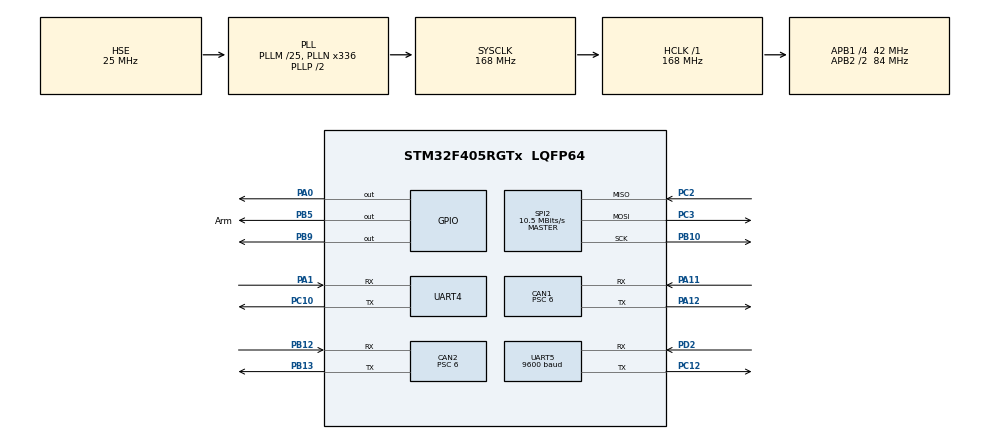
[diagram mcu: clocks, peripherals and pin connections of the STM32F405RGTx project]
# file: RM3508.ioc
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CAN1.ABOM=ENABLE
CAN1.AWUM=ENABLE
CAN1.BS1=CAN_BS1_3TQ
CAN1.BS2=CAN_BS2_3TQ
CAN1.CalculateBaudRate=1000000
CAN1.CalculateTimeBit=1000
CAN1.CalculateTimeQuantum=142.85714285714286
CAN1.NART=ENABLE
CAN1.Prescaler=6
CAN2.ABOM=ENABLE
CAN2.AWUM=ENABLE
CAN2.BS1=CAN_BS1_3TQ
CAN2.BS2=CAN_BS2_3TQ
CAN2.CalculateBaudRate=1000000
CAN2.CalculateTimeBit=1000
CAN2.CalculateTimeQuantum=142.85714285714286
CAN2.NART=ENABLE
CAN2.Prescaler=6
Dma.Request0=UART5_RX
Dma.UART5_RX.0.Direction=DMA_PERIPH_TO_MEMORY
Dma.UART5_RX.0.FIFOMode=DMA_FIFOMODE_DISABLE
Dma.UART5_RX.0.Instance=DMA1_Stream0
Dma.UART5_RX.0.MemDataAlignment=DMA_MDATAALIGN_BYTE
Dma.UART5_RX.0.MemInc=DMA_MINC_ENABLE
Dma.UART5_RX.0.Mode=DMA_CIRCULAR
Dma.UART5_RX.0.PeriphDataAlignment=DMA_PDATAALIGN_BYTE
Dma.UART5_RX.0.PeriphInc=DMA_PINC_DISABLE
Dma.UART5_RX.0.Priority=DMA_PRIORITY_HIGH
FREERTOS.Tasks01=defaultTask,0,128,StartDefaultTask,Default,NULL,Dynamic,NULL,NULL;myTask02,2,128,StartTask02,Default,NULL,Dynamic,NULL,NULL;myReadyPos,0,128,StartReadyPos,Default,NULL,Dynamic,NULL,NULL;myPutBall1,0,128,StartPutBall1,Default,NULL,Dynamic,NULL,NULL;myPutBall2,0,128,StartPutBall2,Default,NULL,Dynamic,NULL,NULL;myGetBall1,0,128,StartGetBall1,Default,NULL,Dynamic,NULL,NULL;myGetBall2,0,128,StartGetBall2,Default,NULL,Dynamic,NULL,NULL;myJudge,1,128,StartJudge,Default,NULL,Dynamic,NULL,NULL;mySetM567,1,128,StartSetM567,Default,NULL,Dynamic,NULL,NULL
Mcu.Family=STM32F4
Mcu.Name=STM32F405RGTx
Mcu.Package=LQFP64
NVIC.CAN1_RX0_IRQn=true\:6\:0\:true\:false\:true\:true\:true\:true\:true
NVIC.CAN1_SCE_IRQn=true\:6\:0\:true\:false\:true\:true\:true\:true\:true
NVIC.CAN2_RX1_IRQn=true\:6\:0\:true\:false\:true\:true\:true\:true\:true
NVIC.CAN2_SCE_IRQn=true\:6\:0\:true\:false\:true\:true\:true\:true\:true
NVIC.DMA1_Stream0_IRQn=true\:5\:0\:false\:false\:true\:true\:false\:true\:true
NVIC.PriorityGroup=NVIC_PRIORITYGROUP_4
NVIC.SPI2_IRQn=true\:5\:0\:false\:false\:true\:true\:true\:true\:true
NVIC.TIM3_IRQn=true\:15\:0\:false\:false\:true\:false\:false\:true\:true
NVIC.TIM5_IRQn=true\:8\:0\:true\:false\:true\:true\:true\:true\:true
NVIC.TIM6_DAC_IRQn=true\:7\:0\:true\:false\:true\:true\:true\:true\:true
NVIC.TIM8_TRG_COM_TIM14_IRQn=true\:5\:0\:false\:false\:true\:true\:true\:true\:true
NVIC.TIM8_UP_TIM13_IRQn=true\:5\:0\:false\:false\:true\:true\:true\:true\:true
NVIC.TimeBase=TIM3_IRQn
NVIC.TimeBaseIP=TIM3
NVIC.UART4_IRQn=true\:5\:0\:false\:false\:true\:true\:true\:true\:true
NVIC.UART5_IRQn=true\:5\:0\:false\:false\:true\:true\:true\:true\:true
PA0-WKUP.Signal=GPIO_Output
PA1.Mode=Asynchronous
PA1.Signal=UART4_RX
PA11.Mode=CAN_Activate
PA11.Signal=CAN1_RX
PA12.Mode=CAN_Activate
PA12.Signal=CAN1_TX
PA13.Mode=Serial_Wire
PA13.Signal=SYS_JTMS-SWDIO
PA14.Mode=Serial_Wire
PA14.Signal=SYS_JTCK-SWCLK
PB10.Mode=Full_Duplex_Master
PB10.Signal=SPI2_SCK
PB12.Mode=CAN_Activate
PB12.Signal=CAN2_RX
PB13.Mode=CAN_Activate
PB13.Signal=CAN2_TX
PB5.GPIO_Label=Arm
PB5.GPIO_PuPd=GPIO_PULLDOWN
PB5.Signal=GPIO_Output
PB9.GPIO_PuPd=GPIO_PULLUP
PB9.GPIO_Speed=GPIO_SPEED_FREQ_VERY_HIGH
PB9.Signal=GPIO_Output
PC10.Mode=Asynchronous
PC10.Signal=UART4_TX
PC12.Mode=Asynchronous
PC12.Signal=UART5_TX
PC14-OSC32_IN.Mode=LSE-External-Oscillator
PC14-OSC32_IN.Signal=RCC_OSC32_IN
PC15-OSC32_OUT.Mode=LSE-External-Oscillator
PC15-OSC32_OUT.Signal=RCC_OSC32_OUT
PC2.Mode=Full_Duplex_Master
PC2.Signal=SPI2_MISO
PC3.Mode=Full_Duplex_Master
PC3.Signal=SPI2_MOSI
PD2.Mode=Asynchronous
PD2.Signal=UART5_RX
PH0-OSC_IN.Mode=HSE-External-Oscillator
PH0-OSC_IN.Signal=RCC_OSC_IN
PH1-OSC_OUT.Mode=HSE-External-Oscillator
PH1-OSC_OUT.Signal=RCC_OSC_OUT
ProjectManager.HeapSize=0x200
ProjectManager.StackSize=0x400
ProjectManager.TargetToolchain=MDK-ARM V5.32
RCC.48MHZClocksFreq_Value=84000000
RCC.AHBFreq_Value=168000000
RCC.APB1CLKDivider=RCC_HCLK_DIV4
RCC.APB1Freq_Value=42000000
RCC.APB1TimFreq_Value=84000000
RCC.APB2CLKDivider=RCC_HCLK_DIV2
RCC.APB2Freq_Value=84000000
RCC.APB2TimFreq_Value=168000000
RCC.CortexFreq_Value=168000000
RCC.HCLKFreq_Value=168000000
RCC.HSE_VALUE=25000000
RCC.HSI_VALUE=16000000
RCC.PLLM=25
RCC.PLLN=336
RCC.PLLSourceVirtual=RCC_PLLSOURCE_HSE
RCC.SYSCLKFreq_VALUE=168000000
RCC.SYSCLKSource=RCC_SYSCLKSOURCE_PLLCLK
RCC.VCOOutputFreq_Value=336000000
SPI2.BaudRatePrescaler=SPI_BAUDRATEPRESCALER_4
SPI2.CLKPolarity=SPI_POLARITY_LOW
SPI2.CRCCalculation=SPI_CRCCALCULATION_DISABLE
SPI2.CalculateBaudRate=10.5 MBits/s
SPI2.Direction=SPI_DIRECTION_2LINES
SPI2.Mode=SPI_MODE_MASTER
SPI2.VirtualType=VM_MASTER
STMicroelectronics.X-CUBE-ALGOBUILD.1.3.0.LibraryCcDSPOoLibraryJjDSPOoLibrary=true
TIM14.Period=300
TIM14.Prescaler=42-1
TIM5.AutoReloadPreload=TIM_AUTORELOAD_PRELOAD_ENABLE
TIM5.Period=840-1
TIM5.Prescaler=100-1
TIM6.AutoReloadPreload=TIM_AUTORELOAD_PRELOAD_ENABLE
TIM6.Period=84-1
TIM6.Prescaler=10-1
UART4.VirtualMode=Asynchronous
UART5.BaudRate=9600
UART5.VirtualMode=Asynchronous
VP_FREERTOS_VS_CMSIS_V1.Mode=CMSIS_V1
VP_STMicroelectronics.X-CUBE-ALGOBUILD_VS_DSPOoLibraryJjLibrary_1.3.0_1.3.0.Mode=DSPOoLibraryJjLibrary
VP_SYS_VS_tim3.Mode=TIM3
VP_TIM13_VS_ClockSourceINT.Mode=Enable_Timer
VP_TIM14_VS_ClockSourceINT.Mode=Enable_Timer
VP_TIM5_VS_ClockSourceINT.Mode=Internal
VP_TIM6_VS_ClockSourceINT.Mode=Enable_Timer
board=custom

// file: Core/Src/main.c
/* USER CODE BEGIN Header */
/**
  ******************************************************************************
  * @file           : main.c
  * @brief          : Main program body
  ******************************************************************************
  * @attention
  *
  * Copyright (c) 2024 STMicroelectronics.
  * All rights reserved.
  *
  * This software is licensed under terms that can be found in the LICENSE file
  * in the root directory of this software component.
  * If no LICENSE file comes with this software, it is provided AS-IS.
  *
  ******************************************************************************
  */
/* USER CODE END Header */
#include "main.h"
#include "cmsis_os.h"
#include "can.h"
#include "dma.h"
#include "spi.h"
#include "tim.h"
#include "usart.h"
#include "gpio.h"

/* USER CODE BEGIN Includes */
#include "RM3508.h"
#include "can_bsp.h"
#include "DR_rm3508.h"
//#include "rgb.h"
#include "ICM42688.h"
#include "mySerial.h"

#include "math.h"
#include "stdio.h"
#include "string.h"
#include "stdarg.h"
#include "arm_math.h"
/* USER CODE END Includes */

void SystemClock_Config(void);
void MX_FREERTOS_Init(void);

int main(void)
{

  /* MCU Configuration--------------------------------------------------------*/

  /* Reset of all peripherals, Initializes the Flash interface and the Systick. */
  HAL_Init();

  /* Configure the system clock */
  SystemClock_Config();

  /* Initialize all configured peripherals */
  MX_GPIO_Init();
  MX_DMA_Init();
  MX_CAN1_Init();
  MX_CAN2_Init();
  MX_TIM5_Init();
  MX_UART5_Init();
  MX_TIM6_Init();
  MX_SPI2_Init();
  MX_TIM13_Init();
  MX_TIM14_Init();
  MX_UART4_Init();
  /* USER CODE BEGIN 2 */
	CAN_Init(&hcan1);
  CAN_Init(&hcan2);
	mySerial_Init();

//	HAL_TIM_Base_Start_IT (&htim6 );
//   ICM42688_Init();
//   Data_Init(K_filt1,G_yaw);
//	 HAL_TIM_Base_Start_IT (&htim5 );
//	 mySerial_Init();

  /* USER CODE END 2 */

  /* Call init function for freertos objects (in freertos.c) */
  MX_FREERTOS_Init();

  /* Start scheduler */
  osKernelStart();

  /* We should never get here as control is now taken by the scheduler */
  /* Infinite loop */
  while (1)
  {

    /* USER CODE BEGIN 3 */
//		RGB_Color_Convert(&htim4 ,TIM_CHANNEL_3 ,Yellow_Color, 0.5);
//		HAL_Delay (1);
		//控制CAN1发送消息给CAN2请用
//	  CAN_SendData(&hcan1, (uint8_t *)("Helloooo"), 0x123);
//	  HAL_Delay(5);

  }
  /* USER CODE END 3 */
}

void SystemClock_Config(void)
{
  RCC_OscInitTypeDef RCC_OscInitStruct = {0};
  RCC_ClkInitTypeDef RCC_ClkInitStruct = {0};

  /** Configure the main internal regulator output voltage
  */
  __HAL_RCC_PWR_CLK_ENABLE();
  __HAL_PWR_VOLTAGESCALING_CONFIG(PWR_REGULATOR_VOLTAGE_SCALE1);

  /** Initializes the RCC Oscillators according to the specified parameters
  * in the RCC_OscInitTypeDef structure.
  */
  RCC_OscInitStruct.OscillatorType = RCC_OSCILLATORTYPE_HSE;
  RCC_OscInitStruct.HSEState = RCC_HSE_ON;
  RCC_OscInitStruct.PLL.PLLState = RCC_PLL_ON;
  RCC_OscInitStruct.PLL.PLLSource = RCC_PLLSOURCE_HSE;
  RCC_OscInitStruct.PLL.PLLM = 25;
  RCC_OscInitStruct.PLL.PLLN = 336;
  RCC_OscInitStruct.PLL.PLLP = RCC_PLLP_DIV2;
  RCC_OscInitStruct.PLL.PLLQ = 4;
  if (HAL_RCC_OscConfig(&RCC_OscInitStruct) != HAL_OK)
  {
    Error_Handler();
  }

  /** Initializes the CPU, AHB and APB buses clocks
  */
  RCC_ClkInitStruct.ClockType = RCC_CLOCKTYPE_HCLK|RCC_CLOCKTYPE_SYSCLK
                              |RCC_CLOCKTYPE_PCLK1|RCC_CLOCKTYPE_PCLK2;
  RCC_ClkInitStruct.SYSCLKSource = RCC_SYSCLKSOURCE_PLLCLK;
  RCC_ClkInitStruct.AHBCLKDivider = RCC_SYSCLK_DIV1;
  RCC_ClkInitStruct.APB1CLKDivider = RCC_HCLK_DIV4;
  RCC_ClkInitStruct.APB2CLKDivider = RCC_HCLK_DIV2;

  if (HAL_RCC_ClockConfig(&RCC_ClkInitStruct, FLASH_LATENCY_5) != HAL_OK)
  {
    Error_Handler();
  }
}

void HAL_TIM_PeriodElapsedCallback(TIM_HandleTypeDef *htim)
{
  if (htim->Instance == TIM3) {
    HAL_IncTick();
  }
  /* USER CODE BEGIN Callback 1 */
	if( htim->Instance == htim5.Instance ){
      getICM42688data(K_filt,G_yaw);
      ICM42688_yaw_adjust(K_filt,G_yaw);
	}

	if( htim->Instance == htim6.Instance ){
//		printf("speed_1,pos_1:%f,%f\n",speed_1,Pos_1);
	}
  /* USER CODE END Callback 1 */
}

void Error_Handler(void)
{
  __disable_irq();
  while (1)
  {
  }
}

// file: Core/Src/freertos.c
/* USER CODE BEGIN Header */
/**
  ******************************************************************************
  * File Name          : freertos.c
  * Description        : Code for freertos applications
  ******************************************************************************
  * @attention
  *
  * Copyright (c) 2024 STMicroelectronics.
  * All rights reserved.
  *
  * This software is licensed under terms that can be found in the LICENSE file
  * in the root directory of this software component.
  * If no LICENSE file comes with this software, it is provided AS-IS.
  *
  ******************************************************************************
  */
/* USER CODE END Header */

#include "FreeRTOS.h"
#include "task.h"
#include "main.h"
#include "cmsis_os.h"

/* USER CODE BEGIN Includes */
#include "RM3508.h"
#include "can_bsp.h"
#include "DR_rm3508.h"
//#include "rgb.h"
#include "ICM42688.h"
#include "filt.h"
#include "point_control.h"
#include "arm_control.h"
#include "gpio.h"

#include "math.h"
#include "stdio.h"
#include "string.h"
#include "stdarg.h"

/* USER CODE END Includes */

/* USER CODE BEGIN Variables */
float x;
/* USER CODE END Variables */
osThreadId defaultTaskHandle;
osThreadId myTask02Handle;
osThreadId myReadyPosHandle;
osThreadId myPutBall1Handle;
osThreadId myPutBall2Handle;
osThreadId myGetBall1Handle;
osThreadId myGetBall2Handle;
osThreadId myJudgeHandle;
osThreadId mySetM567Handle;

void StartDefaultTask(void const * argument);
void StartTask02(void const * argument);
void StartReadyPos(void const * argument);
void StartPutBall1(void const * argument);
void StartPutBall2(void const * argument);
void StartGetBall1(void const * argument);
void StartGetBall2(void const * argument);
void StartJudge(void const * argument);
void StartSetM567(void const * argument);

void MX_FREERTOS_Init(void); /* (MISRA C 2004 rule 8.1) */

/* GetIdleTaskMemory prototype (linked to static allocation support) */
void vApplicationGetIdleTaskMemory( StaticTask_t **ppxIdleTaskTCBBuffer, StackType_t **ppxIdleTaskStackBuffer, uint32_t *pulIdleTaskStackSize );

/* USER CODE BEGIN GET_IDLE_TASK_MEMORY */
static StaticTask_t xIdleTaskTCBBuffer;
static StackType_t xIdleStack[configMINIMAL_STACK_SIZE];

void vApplicationGetIdleTaskMemory( StaticTask_t **ppxIdleTaskTCBBuffer, StackType_t **ppxIdleTaskStackBuffer, uint32_t *pulIdleTaskStackSize )
{
  *ppxIdleTaskTCBBuffer = &xIdleTaskTCBBuffer;
  *ppxIdleTaskStackBuffer = &xIdleStack[0];
  *pulIdleTaskStackSize = configMINIMAL_STACK_SIZE;
  /* place for user code */
}
/* USER CODE END GET_IDLE_TASK_MEMORY */

void MX_FREERTOS_Init(void) {

  /* Create the thread(s) */
  /* definition and creation of defaultTask */
  osThreadDef(defaultTask, StartDefaultTask, osPriorityNormal, 0, 128);
  defaultTaskHandle = osThreadCreate(osThread(defaultTask), NULL);

  /* definition and creation of myTask02 */
  osThreadDef(myTask02, StartTask02, osPriorityHigh, 0, 128);
  myTask02Handle = osThreadCreate(osThread(myTask02), NULL);

  /* definition and creation of myReadyPos */
  osThreadDef(myReadyPos, StartReadyPos, osPriorityNormal, 0, 128);
  myReadyPosHandle = osThreadCreate(osThread(myReadyPos), NULL);

  /* definition and creation of myPutBall1 */
  osThreadDef(myPutBall1, StartPutBall1, osPriorityNormal, 0, 128);
  myPutBall1Handle = osThreadCreate(osThread(myPutBall1), NULL);

  /* definition and creation of myPutBall2 */
  osThreadDef(myPutBall2, StartPutBall2, osPriorityNormal, 0, 128);
  myPutBall2Handle = osThreadCreate(osThread(myPutBall2), NULL);

  /* definition and creation of myGetBall1 */
  osThreadDef(myGetBall1, StartGetBall1, osPriorityNormal, 0, 128);
  myGetBall1Handle = osThreadCreate(osThread(myGetBall1), NULL);

  /* definition and creation of myGetBall2 */
  osThreadDef(myGetBall2, StartGetBall2, osPriorityNormal, 0, 128);
  myGetBall2Handle = osThreadCreate(osThread(myGetBall2), NULL);

  /* definition and creation of myJudge */
  osThreadDef(myJudge, StartJudge, osPriorityAboveNormal, 0, 128);
  myJudgeHandle = osThreadCreate(osThread(myJudge), NULL);

  /* definition and creation of mySetM567 */
  osThreadDef(mySetM567, StartSetM567, osPriorityAboveNormal, 0, 128);
  mySetM567Handle = osThreadCreate(osThread(mySetM567), NULL);

}

void StartDefaultTask(void const * argument)
{
  for(;;)
  {
    osDelay(1);
  }
}

void StartTask02(void const * argument)
{
  /* USER CODE BEGIN StartTask02 */
  /* Infinite loop */
  for(;;)
  {

//		if(Point_test == 1)
//		{
//			while(Robot_Pos_Move_PID_V1 (&Path_PID_Test))
//			{
//				Point_test = 0;
//				break;
//			}
//			osDelay(1);
//		}

//      RM3508_text();
//		Data_Init(K_filt1,G_yaw);
//    getICM42688data(K_filt,G_yaw);
//		ICM42688_yaw_adjust(K_filt,G_yaw);
//		ICM42688_VX_adjust(K_filt,G_yaw);
//		ICM42688_X_adjust(K_filt,G_yaw);
    osDelay(1);
  }
  /* USER CODE END StartTask02 */
}

void StartReadyPos(void const * argument)
{
  /* USER CODE BEGIN StartReadyPos */

  /* Infinite loop */
   for(;;)
  {
		//机械臂预备位置
			 M5_Pos = M5_READY * 1638.4; //抓取方向电机
       M6_Pos = M6_READY * 1297; //大臂电机抓取位置
       M7_Pos = M7_READY * 1638.4; //小臂电机
       osDelay(1);
  }
  /* USER CODE END StartReadyPos */
}

void StartPutBall1(void const * argument)
{
  /* USER CODE BEGIN StartPutBall1 */
  /* Infinite loop */
   for(;;)
  {
		vTaskSuspend(myPutBall1Handle); //暂停任务，等待唤醒
		//机械臂放球
		M5_Pos = -90 * 1638.4; //抓取方向电机
    M6_Pos = M6_PUT_1 * 1297; //大臂电机抓取位置
    M7_Pos = M7_PUT_1 * 1638.4; //小臂电机
		osDelay(5);
		while(1)
		{
				if(fabs(M3508_Pos_Pid[4].Err) <= 10 && fabs(M3508_Pos_Pid[5].Err) <= 10 && fabs(M3508_Pos_Pid[6].Err) <= 10) //到达位置跳出
					break;
				osDelay(1);
		 }
		osDelay(300);
		HAL_GPIO_WritePin (Arm_GPIO_Port ,Arm_Pin ,0);//电磁阀打开放球
		osDelay(700);
		vTaskResume(myReadyPosHandle);//预备位置
		PUT_BALL_1 = 0;
    osDelay(1);
  }
  /* USER CODE END StartPutBall1 */
}

void StartPutBall2(void const * argument)
{
  /* USER CODE BEGIN StartPutBall2 */
  /* Infinite loop */
  for(;;)
  {
    vTaskSuspend(myPutBall2Handle); //暂停任务，等待唤醒
		//机械臂放球
		M5_Pos = M5_PUT_2 * 1638.4; //抓取方向电机
    M6_Pos = M6_PUT_2 * 1297; //大臂电机抓取位置
    M7_Pos = M7_PUT_2 * 1638.4; //小臂电机
		while(1)
		{
				if(fabs(M3508_Pos_Pid[4].Err) <= 10 && fabs(M3508_Pos_Pid[5].Err) <= 10 && fabs(M3508_Pos_Pid[6].Err) <= 10) //到达位置跳出
					break;
				osDelay(1);
		}
		osDelay(300);
		HAL_GPIO_WritePin (Arm_GPIO_Port ,Arm_Pin ,0);//电磁阀打开放球
		osDelay(700);
		vTaskResume(myReadyPosHandle);//预备位置
		PUT_BALL_2 = 0;
    osDelay(1);
	}
  /* USER CODE END StartPutBall2 */
}

void StartGetBall1(void const * argument)
{
  /* USER CODE BEGIN StartGetBall1 */
  /* Infinite loop */
 for(;;)
  {
    vTaskSuspend(myGetBall1Handle); //暂停任务，等待唤醒
		//机械臂放球
		M5_Pos = -90 * 1638.4; //抓取方向电机
    M6_Pos = M6_GET_1 * 1297; //大臂电机抓取位置
    M7_Pos = M7_GET_1 * 1638.4; //小臂电机
		osDelay(5);
		while(1)
		{
				if(fabs(M3508_Pos_Pid[4].Err) <= 10 && fabs(M3508_Pos_Pid[5].Err) <= 10 && fabs(M3508_Pos_Pid[6].Err) <= 10) //到达位置跳出
					break;
				osDelay(1);
		 }
		osDelay(300);
		HAL_GPIO_WritePin (Arm_GPIO_Port ,Arm_Pin ,1);//电磁阀打开放球
		osDelay(700);
		vTaskResume(myReadyPosHandle);//预备位置
		GET_BALL_1 = 0;
    osDelay(1);
	}
  /* USER CODE END StartGetBall1 */
}

void StartGetBall2(void const * argument)
{
  /* USER CODE BEGIN StartGetBall2 */
  /* Infinite loop */
  for(;;)
  {
    vTaskSuspend(myGetBall2Handle); //暂停任务，等待唤醒
		//机械臂放球
			//第一个球
			if(BOX == 5)
			{
			M5_Pos = M5_GET1_2 * 1638.4; //抓取方向电机
			M6_Pos = M6_GET1_2 * 1297; //大臂电机抓取位置
			M7_Pos = M7_GET1_2 * 1638.4; //小臂电机
			while(1)
			{
					if(fabs(M3508_Pos_Pid[4].Err) <= 10 && fabs(M3508_Pos_Pid[5].Err) <= 10 && fabs(M3508_Pos_Pid[6].Err) <= 10) //到达位置跳出
						break;
					osDelay(1);
		  }
			osDelay(300);
			HAL_GPIO_WritePin (Arm_GPIO_Port ,Arm_Pin ,1);//电磁阀关闭抓球
			osDelay(700);
		  }

			//第二个球
			if(BOX == 4)
			{
			M5_Pos = M5_GET1_2 * 1638.4; //抓取方向电机
			M6_Pos = M6_GET1_2 * 1297; //大臂电机抓取位置
			M7_Pos = M7_GET1_2 * 1638.4; //小臂电机
			while(1)
			{
					if(fabs(M3508_Pos_Pid[4].Err) <= 10 && fabs(M3508_Pos_Pid[5].Err) <= 10 && fabs(M3508_Pos_Pid[6].Err) <= 10) //到达位置跳出
						break;
					osDelay(1);
		  }
			osDelay(300);
			HAL_GPIO_WritePin (Arm_GPIO_Port ,Arm_Pin ,1);//电磁阀关闭抓球
			osDelay(700);
		  }

			//第三个球
			if(BOX == 3)
			{
			M5_Pos = M5_GET1_2 * 1638.4; //抓取方向电机
			M6_Pos = M6_GET1_2 * 1297; //大臂电机抓取位置
			M7_Pos = M7_GET1_2 * 1638.4; //小臂电机
			while(1)
			{
					if(fabs(M3508_Pos_Pid[4].Err) <= 10 && fabs(M3508_Pos_Pid[5].Err) <= 10 && fabs(M3508_Pos_Pid[6].Err) <= 10) //到达位置跳出
						break;
					osDelay(1);
		  }
			osDelay(300);
			HAL_GPIO_WritePin (Arm_GPIO_Port ,Arm_Pin ,1);//电磁阀关闭抓球
			osDelay(700);
		  }

			//第四个球
			if(BOX == 2)
			{
			M5_Pos = M5_GET1_2 * 1638.4; //抓取方向电机
			M6_Pos = M6_GET1_2 * 1297; //大臂电机抓取位置
			M7_Pos = M7_GET1_2 * 1638.4; //小臂电机
			while(1)
			{
					if(fabs(M3508_Pos_Pid[4].Err) <= 10 && fabs(M3508_Pos_Pid[5].Err) <= 10 && fabs(M3508_Pos_Pid[6].Err) <= 10) //到达位置跳出
						break;
					osDelay(1);
		  }
			osDelay(300);
			HAL_GPIO_WritePin (Arm_GPIO_Port ,Arm_Pin ,1);//电磁阀关闭抓球
			osDelay(700);
		  }

			//第五个球
			if(BOX == 1)
			{
			M5_Pos = M5_GET1_2 * 1638.4; //抓取方向电机
			M6_Pos = M6_GET1_2 * 1297; //大臂电机抓取位置
			M7_Pos = M7_GET1_2 * 1638.4; //小臂电机
			while(1)
			{
					if(fabs(M3508_Pos_Pid[4].Err) <= 10 && fabs(M3508_Pos_Pid[5].Err) <= 10 && fabs(M3508_Pos_Pid[6].Err) <= 10) //到达位置跳出
						break;
					osDelay(1);
		  }
			osDelay(300);
			HAL_GPIO_WritePin (Arm_GPIO_Port ,Arm_Pin ,1);//电磁阀关闭抓球
			osDelay(700);
		  }
			vTaskResume(myReadyPosHandle);//预备位置
		  BOX--;
		  GET_BALL_2 = 0;
      osDelay(1);
	}
  /* USER CODE END StartGetBall2 */
}

void StartJudge(void const * argument)
{
  /* USER CODE BEGIN StartJudge */
  /* Infinite loop */
  for(;;)
  {
		if(PUT_BALL_1)
		{
			vTaskSuspend(myReadyPosHandle);
			vTaskResume(myPutBall1Handle);
		}
    if(PUT_BALL_2)
		{
			vTaskSuspend(myReadyPosHandle);
			vTaskResume(myPutBall2Handle);
		}
    if(GET_BALL_1)
		{
			vTaskSuspend(myReadyPosHandle);
			vTaskResume(myGetBall1Handle);
		}
		if(GET_BALL_2)
		{
			vTaskSuspend(myReadyPosHandle);
			vTaskResume(myGetBall2Handle);
		}
    osDelay(1);
  }
  /* USER CODE END StartJudge */
}

void StartSetM567(void const * argument)
{
  /* USER CODE BEGIN StartSetM567 */

	RM3508_Set_NowPos(5, 0);
	RM3508_Set_NowPos(6, 0);
	RM3508_Set_NowPos(7, 0);
//	 HAL_GPIO_WritePin (Arm_GPIO_Port ,Arm_Pin ,1);//电磁阀关闭抓球

  /* Infinite loop */
  for(;;)
  {

			RM3508_Set_Pos(M5_Pos, 5); //抓取方向电机
			RM3508_Set_Pos(M6_Pos, 6); //大臂电机
			RM3508_Set_Pos(M7_Pos, 7); //小臂电机
      osDelay(1);
  }
  /* USER CODE END StartSetM567 */
}
